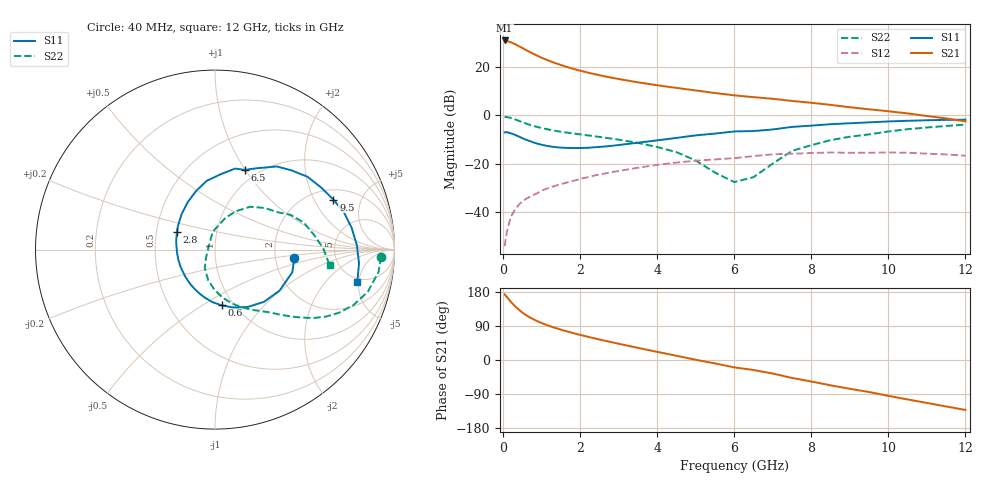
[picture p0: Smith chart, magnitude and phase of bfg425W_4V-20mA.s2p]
! Filename: 420bfg425.001
! BFG425W Field C1
! V1=8.380E-001V,V2=4.000E+000V, I1=2.416E-004A, I2=2.001E-002A
# GHz  S  MA  R 50
!  S11  S21  S12  S22
!Freq(GHz)  Mag  Ang  Mag  Ang  Mag  Ang  Mag  Ang
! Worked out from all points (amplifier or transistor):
!   44 points, 40 MHz to 12 GHz, reference 50 ohm
!   highest |S21| = 30.9 dB at 40 MHz (marker M1)
!   |S21| within 3 dB of that: start of sweep to 486.6 MHz
!   unconditionally stable (mu >= 1): start of sweep to 45.07 MHz; 1.39 GHz to end of sweep
!   at 700 MHz: K = 0.76, MSG = 29.8 dB, |S12| = -33.6 dB
!   at 2.4 GHz: K = 1.14, MAG = 18.6 dB, |S12| = -24.7 dB
!   at 12 GHz: K = 1.35, MAG = 3.6 dB, |S12| = -16.7 dB
!   S11 on the Smith chart (normalised r, x): 40 MHz: 2.56, -0.28; 600 MHz: 0.88, -0.61; 2.8 GHz: 0.64, +0.14; 6.5 GHz: 0.87, +0.99; 9.5 GHz: 2.52, +2.88; 12 GHz: 4.53, -4.78
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0.04  0.444 -5.7  35.02 173.2  0.002 57.3  0.925 -2.5
0.1  0.449 -16.3  34.01 166.0  0.004 74.4  0.92 -7.7
0.2  0.426 -32.5  32.15 153.8  0.008 72.2  0.883 -15.4
0.3  0.399 -46.8  29.62 143.2  0.011 69.5  0.831 -21.9
0.4  0.368 -60.4  26.99 133.7  0.014 66.7  0.775 -27.0
0.5  0.338 -72.5  24.46 125.2  0.017 63.8  0.723 -31.1
0.6  0.313 -83.2  22.13 118.2  0.019 62.5  0.676 -34.2
0.7  0.293 -92.7  20.1 112.3  0.021 61.1  0.635 -36.8
0.9  0.259 -109.7  16.79 102.0  0.025 59.5  0.572 -40.8
1  0.247 -117.3  15.46 97.6  0.028 58.9  0.547 -42.4
1.2  0.23 -130.8  13.29 89.9  0.032 57.7  0.506 -45.5
1.6  0.214 -154.3  10.29 77.2  0.04 55.2  0.447 -50.9
2.2  0.214 177.5  7.618 61.4  0.053 50.0  0.386 -59.5
2.8  0.234 154.7  6.01 47.3  0.067 43.5  0.332 -69.0
3.5  0.272 133.1  4.797 32.1  0.083 34.6  0.27 -81.2
4.5  0.342 108.2  3.677 11.2  0.106 20.2  0.174 -102.7
5.5  0.42 85.9  2.883 -9.0  0.123 4.7  0.066 -138.6
6.5  0.474 69.6  2.371 -26.4  0.144 -7.3  0.053 121.6
8.5  0.656 38.2  1.643 -66.8  0.171 -44.3  0.308 50.7
9.5  0.716 22.9  1.33 -84.6  0.169 -61.2  0.404 31.2
10.5  0.771 9.0  1.095 -104.1  0.169 -79.8  0.518 16.8
12  0.813 -12.7  0.751 -131.7  0.147 -110.0  0.644 -7.7
